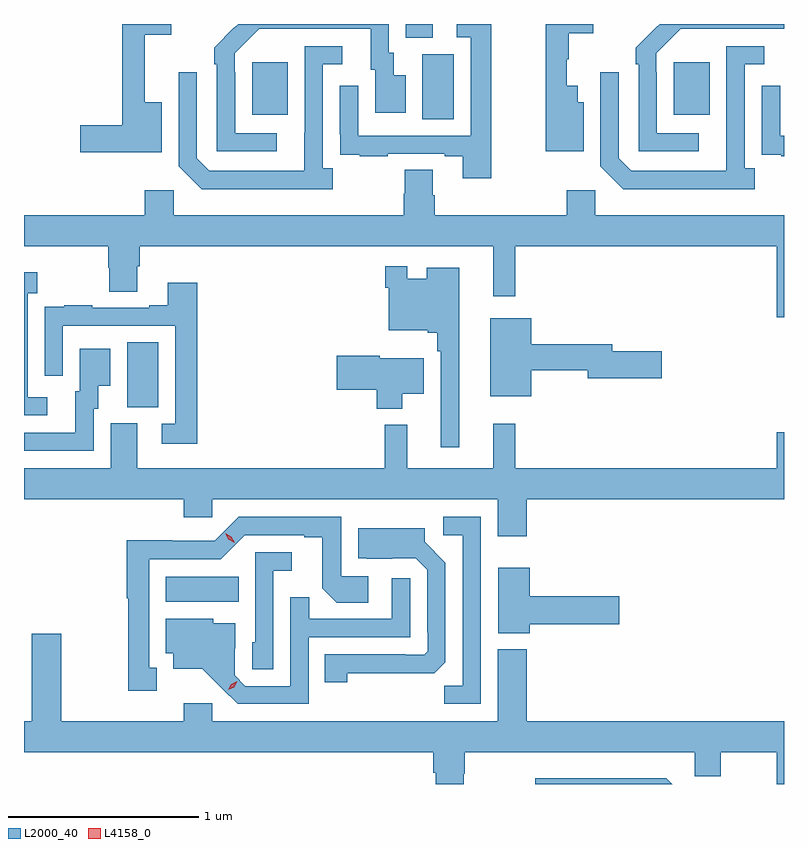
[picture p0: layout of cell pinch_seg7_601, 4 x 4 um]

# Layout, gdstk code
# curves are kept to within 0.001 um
import gdstk
lib = gdstk.Library(unit=1e-6, precision=1e-09)
def R(c, l, rs):  # rectangles x0, y0, x1, y1
    for r in rs: c.add(gdstk.rectangle(r[:2], r[2:], *l))
def P(c, l, *ps):  # polygons
    for p in ps: c.add(gdstk.Polygon(p, *l))
L2000_40 = (2000, 40)
L4158_0 = (4158, 0)

pinch_seg7_601 = lib.new_cell('pinch_seg7_601')
R(pinch_seg7_601, L2000_40, [(149.804,1013.396,150.188,1013.53), (149.6,1014.421,149.764,1014.764), (151.154,1015.936,151.318,1016.28), (150.257,1015.961,150.445,1016.236), (152.477,1015.961,152.665,1016.236), (151.067,1016.365,151.207,1016.438)])
P(pinch_seg7_601, L2000_40, [(149.782,1016.026),(149.693,1016.026),(149.693,1016.382),(149.833,1016.382),(149.833,1016.438),(149.575,1016.438),(149.575,1015.904),(149.352,1015.904),(149.352,1015.762),(149.782,1015.762)],
  [(150.388,1015.863),(150.168,1015.863),(150.168,1016.183),(150.165,1016.183),(150.165,1016.283),(150.294,1016.412),(150.881,1016.412),(150.881,1016.196),(150.905,1016.196),(150.905,1015.971),(151.066,1015.971),(151.066,1016.167),(151.003,1016.167),(151.003,1016.286),(150.978,1016.286),(150.978,1016.438),(150.184,1016.438),(150.163,1016.417),(150.162,1016.418),(150.057,1016.313),(150.057,1016.225),(150.072,1016.225),(150.072,1015.767),(150.388,1015.767)],
  [(152.002,1016.026),(151.972,1016.026),(151.972,1016.113),(151.913,1016.113),(151.913,1016.253),(151.924,1016.253),(151.924,1016.389),(152.053,1016.389),(152.053,1016.438),(151.803,1016.438),(151.803,1015.769),(152.002,1015.769)],
  [(152.608,1015.863),(152.388,1015.863),(152.388,1016.183),(152.385,1016.183),(152.385,1016.283),(152.514,1016.412),(153.057,1016.412),(153.057,1016.438),(152.404,1016.438),(152.383,1016.417),(152.382,1016.418),(152.277,1016.313),(152.277,1016.225),(152.292,1016.225),(152.292,1015.767),(152.608,1015.767)],
  [(151.516,1016.438),(151.335,1016.438),(151.335,1016.367),(151.407,1016.367),(151.407,1015.851),(150.816,1015.851),(150.816,1016.113),(150.72,1016.113),(150.72,1015.858),(150.721,1015.858),(150.721,1015.749),(150.823,1015.749),(150.823,1015.743),(150.971,1015.743),(150.971,1015.755),(151.271,1015.755),(151.271,1015.743),(151.367,1015.743),(151.367,1015.626),(151.516,1015.626)],
  [(150.682,1015.678),(150.63,1015.678),(150.63,1016.226),(150.733,1016.226),(150.733,1016.322),(150.534,1016.322),(150.533,1015.665),(150.033,1015.665),(149.967,1015.731),(149.967,1016.185),(149.871,1016.185),(149.871,1015.689),(149.992,1015.568),(150.682,1015.568)],
  [(152.902,1015.678),(152.85,1015.678),(152.85,1016.226),(152.953,1016.226),(152.953,1016.322),(152.754,1016.322),(152.753,1015.665),(152.253,1015.665),(152.187,1015.731),(152.187,1016.185),(152.091,1016.185),(152.091,1015.689),(152.212,1015.568),(152.902,1015.568)],
  [(153.057,1015.851),(153.036,1015.851),(153.036,1016.113),(152.94,1016.113),(152.94,1015.858),(152.941,1015.858),(152.941,1015.749),(153.043,1015.749),(153.043,1015.743),(153.057,1015.743)],
  [(153.057,1015.432),(152.064,1015.432),(152.064,1015.564),(151.913,1015.564),(151.913,1015.432),(151.22,1015.432),(151.22,1015.538),(151.207,1015.538),(151.207,1015.67),(151.06,1015.67),(151.06,1015.545),(151.055,1015.545),(151.055,1015.432),(149.844,1015.432),(149.844,1015.564),(149.693,1015.564),(149.693,1015.432),(149.057,1015.432),(149.057,1015.268),(149.501,1015.268),(149.501,1015.155),(149.506,1015.155),(149.506,1015.03),(149.653,1015.03),(149.653,1015.162),(149.666,1015.162),(149.666,1015.268),(151.526,1015.268),(151.526,1015.005),(151.643,1015.005),(151.643,1015.268),(153.02,1015.268),(153.02,1014.894),(153.057,1014.894)],
  [(151.348,1015.156),(151.178,1015.156),(151.178,1015.096),(151.074,1015.096),(151.074,1015.162),(150.958,1015.162),(150.958,1015.049),(150.978,1015.049),(150.978,1014.827),(151.182,1014.827),(151.182,1014.812),(151.233,1014.812),(151.233,1014.716),(151.251,1014.716),(151.251,1014.21),(151.348,1014.21)],
  [(149.179,1014.474),(149.076,1014.474),(149.076,1015.022),(149.128,1015.022),(149.128,1015.132),(149.057,1015.132),(149.057,1014.378),(149.179,1014.378)],
  [(149.969,1015.075),(149.813,1015.075),(149.813,1014.958),(149.717,1014.958),(149.717,1014.945),(149.417,1014.945),(149.417,1014.958),(149.269,1014.958),(149.269,1014.951),(149.167,1014.951),(149.167,1014.842),(149.166,1014.842),(149.166,1014.588),(149.262,1014.588),(149.262,1014.849),(149.853,1014.849),(149.853,1014.333),(149.781,1014.333),(149.781,1014.228),(149.969,1014.228)],
  [(151.726,1014.616),(152.024,1014.616),(152.024,1014.574),(152.413,1014.574),(152.413,1014.716),(152.152,1014.716),(152.152,1014.752),(151.726,1014.752),(151.726,1014.889),(151.511,1014.889),(151.511,1014.479),(151.726,1014.479)],
  [(149.424,1014.414),(149.449,1014.414),(149.449,1014.533),(149.512,1014.533),(149.512,1014.73),(149.351,1014.73),(149.351,1014.504),(149.327,1014.504),(149.327,1014.288),(149.057,1014.288),(149.057,1014.192),(149.424,1014.192)],
  [(151.048,1014.491),(151.162,1014.491),(151.162,1014.679),(150.93,1014.679),(150.93,1014.692),(150.702,1014.692),(150.702,1014.514),(150.914,1014.514),(150.914,1014.413),(151.048,1014.413)],
  [(151.703,1013.936),(153.057,1013.936),(153.057,1014.289),(153.02,1014.289),(153.02,1014.1),(151.643,1014.1),(151.643,1014.334),(151.526,1014.334),(151.526,1014.1),(151.073,1014.1),(151.073,1014.328),(150.955,1014.328),(150.955,1014.1),(149.653,1014.1),(149.653,1014.336),(149.513,1014.336),(149.513,1014.1),(149.057,1014.1),(149.057,1013.936),(149.897,1013.936),(149.897,1013.843),(150.048,1013.843),(150.048,1013.936),(151.55,1013.936),(151.55,1013.742),(151.703,1013.742)],
  [(151.461,1013.844),(151.263,1013.844),(151.263,1013.748),(151.365,1013.748),(151.365,1012.955),(151.27,1012.955),(151.27,1012.86),(151.461,1012.86)],
  [(149.755,1013.049),(149.716,1013.049),(149.716,1013.622),(150.093,1013.622),(150.219,1013.748),(150.533,1013.748),(150.533,1013.736),(150.627,1013.736),(150.627,1013.468),(150.703,1013.392),(150.868,1013.392),(150.868,1013.532),(150.726,1013.532),(150.726,1013.844),(150.186,1013.844),(150.06,1013.718),(149.838,1013.718),(149.838,1013.72),(149.598,1013.72),(149.598,1013.415),(149.605,1013.415),(149.605,1012.929),(149.755,1012.929)],
  [(150.759,1013.02),(151.216,1013.021),(151.275,1013.08),(151.275,1013.602),(151.165,1013.712),(151.165,1013.785),(150.815,1013.785),(150.815,1013.627),(150.859,1013.627),(150.862,1013.624),(151.119,1013.625),(151.179,1013.565),(151.179,1013.236),(151.182,1013.236),(151.182,1013.136),(151.164,1013.118),(151.064,1013.118),(151.064,1013.121),(150.64,1013.121),(150.64,1012.974),(150.759,1012.974)],
  [(150.369,1013.561),(150.466,1013.561),(150.466,1013.658),(150.273,1013.658),(150.273,1013.184),(150.258,1013.184),(150.258,1013.041),(150.369,1013.041)],
  [(151.72,1013.279),(152.191,1013.279),(152.191,1013.426),(151.72,1013.426),(151.72,1013.575),(151.553,1013.575),(151.553,1013.231),(151.72,1013.231)],
  [(150.555,1013.211),(151.089,1013.211),(151.089,1013.521),(150.993,1013.521),(150.993,1013.307),(150.557,1013.307),(150.557,1013.42),(150.459,1013.42),(150.459,1012.953),(150.222,1012.953),(150.165,1013.01),(150.165,1013.152),(150.169,1013.152),(150.169,1013.284),(150.054,1013.284),(150.054,1013.308),(149.804,1013.308),(149.804,1013.126),(149.843,1013.126),(149.843,1013.045),(149.995,1013.045),(150.182,1012.86),(150.555,1012.86)],
  [(151.371,1012.491),(151.376,1012.491),(151.376,1012.604),(152.586,1012.604),(152.586,1012.478),(152.725,1012.478),(152.725,1012.604),(153.02,1012.604),(153.02,1012.438),(153.057,1012.438),(153.057,1012.768),(151.703,1012.768),(151.703,1013.146),(151.55,1013.146),(151.55,1012.768),(150.048,1012.768),(150.048,1012.864),(149.897,1012.864),(149.897,1012.768),(149.253,1012.768),(149.253,1013.23),(149.098,1013.23),(149.098,1012.768),(149.057,1012.768),(149.057,1012.604),(151.211,1012.604),(151.211,1012.498),(151.223,1012.498),(151.223,1012.438),(151.371,1012.438)],
  [(152.438,1012.468),(151.749,1012.468),(151.749,1012.438),(152.468,1012.438)])
P(pinch_seg7_601, L4158_0, [(150.132,1012.933),(150.132,1012.933),(150.149,1012.963),(150.18,1012.978),(150.18,1012.978),(150.18,1012.978),(150.163,1012.948),(150.133,1012.933)],
  [(150.165,1013.708),(150.133,1013.726),(150.115,1013.758),(150.115,1013.758),(150.115,1013.758),(150.147,1013.74),(150.165,1013.708),(150.165,1013.708)])

lib.write_gds('pinch_seg7_601.gds')
